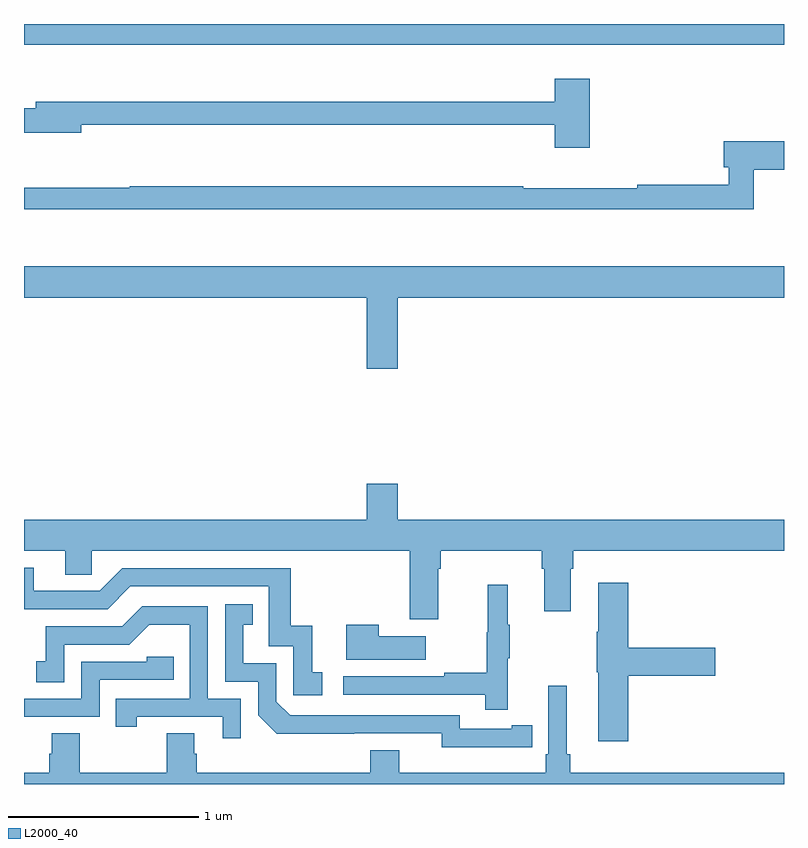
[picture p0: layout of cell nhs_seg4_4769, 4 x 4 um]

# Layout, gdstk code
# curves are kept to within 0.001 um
import gdstk
lib = gdstk.Library(unit=1e-6, precision=1e-09)
def R(c, l, rs):  # rectangles x0, y0, x1, y1
    for r in rs: c.add(gdstk.rectangle(r[:2], r[2:], *l))
def P(c, l, *ps):  # polygons
    for p in ps: c.add(gdstk.Polygon(p, *l))
L2000_40 = (2000, 40)

nhs_seg4_4769 = lib.new_cell('nhs_seg4_4769')
R(nhs_seg4_4769, L2000_40, [(367,824.792,371,824.9)])
P(nhs_seg4_4769, L2000_40, [(369.977,824.611),(369.794,824.611),(369.794,824.491),(367.061,824.491),(367.061,824.457),(367,824.457),(367,824.327),(367.3,824.327),(367.3,824.37),(369.794,824.37),(369.794,824.25),(369.977,824.25)],
  [(370.841,824.132),(371,824.132),(371,824.282),(370.682,824.282),(370.682,824.147),(370.709,824.147),(370.709,824.054),(370.228,824.054),(370.228,824.036),(369.628,824.036),(369.628,824.047),(367.556,824.047),(367.556,824.039),(367,824.039),(367,823.926),(370.841,823.926)],
  [(368.968,823.46),(371,823.46),(371,823.624),(367,823.624),(367,823.46),(368.804,823.46),(368.804,823.086),(368.968,823.086)],
  [(368.804,822.481),(368.804,822.292),(367,822.292),(367,822.128),(367.217,822.128),(367.217,822.001),(367.356,822.001),(367.356,822.128),(369.029,822.128),(369.029,821.766),(369.181,821.766),(369.181,822.032),(369.194,822.032),(369.194,822.128),(369.725,822.128),(369.725,822.032),(369.737,822.032),(369.737,821.808),(369.877,821.808),(369.877,822.032),(369.89,822.032),(369.89,822.128),(371,822.128),(371,822.292),(368.968,822.292),(368.968,822.481)],
  [(368.569,821.487),(368.516,821.487),(368.516,821.734),(368.405,821.734),(368.405,822.036),(367.518,822.036),(367.398,821.916),(367.051,821.916),(367.051,822.039),(367,822.039),(367,821.82),(367.44,821.82),(367.56,821.94),(368.289,821.94),(368.289,821.625),(368.418,821.625),(368.418,821.367),(368.569,821.367)],
  [(370.181,821.471),(370.639,821.471),(370.639,821.618),(370.181,821.618),(370.181,821.959),(370.022,821.959),(370.022,821.701),(370.015,821.701),(370.015,821.487),(370.022,821.487),(370.022,821.124),(370.181,821.124)],
  [(369.545,821.563),(369.556,821.563),(369.556,821.737),(369.545,821.737),(369.545,821.95),(369.442,821.95),(369.442,821.7),(369.435,821.7),(369.435,821.486),(369.211,821.486),(369.211,821.466),(368.679,821.466),(368.679,821.37),(369.427,821.37),(369.427,821.292),(369.545,821.292)],
  [(369.566,821.094),(369.674,821.094),(369.674,821.21),(369.566,821.21),(369.566,821.19),(369.294,821.19),(369.294,821.262),(368.4,821.262),(368.328,821.334),(368.328,821.535),(368.155,821.535),(368.155,821.739),(368.204,821.739),(368.204,821.845),(368.058,821.845),(368.058,821.439),(368.232,821.439),(368.232,821.262),(368.33,821.165),(369.198,821.166),(369.198,821.093)],
  [(368.142,821.349),(367.968,821.349),(367.968,821.835),(367.622,821.835),(367.517,821.73),(367.114,821.73),(367.114,821.545),(367.065,821.545),(367.065,821.436),(367.212,821.436),(367.212,821.634),(367.554,821.634),(367.658,821.738),(367.872,821.738),(367.872,821.349),(367.483,821.349),(367.483,821.202),(367.594,821.202),(367.594,821.253),(368.045,821.253),(368.045,821.142),(368.142,821.142)],
  [(369.115,821.677),(368.867,821.677),(368.867,821.737),(368.696,821.737),(368.696,821.555),(369.115,821.555)],
  [(367.398,821.448),(367.787,821.448),(367.787,821.571),(367.647,821.571),(367.647,821.544),(367.302,821.544),(367.302,821.349),(367,821.349),(367,821.253),(367.398,821.253)],
  [(371,820.96),(369.875,820.96),(369.875,821.056),(369.856,821.056),(369.856,821.416),(369.759,821.416),(369.759,821.056),(369.746,821.056),(369.746,820.96),(368.974,820.96),(368.974,821.077),(368.822,821.077),(368.822,820.96),(367.91,820.96),(367.91,821.058),(367.897,821.058),(367.897,821.168),(367.75,821.168),(367.75,820.96),(367.293,820.96),(367.293,821.168),(367.145,821.168),(367.145,821.058),(367.133,821.058),(367.133,820.96),(367,820.96),(367,820.9),(371,820.9)])

lib.write_gds('nhs_seg4_4769.gds')
